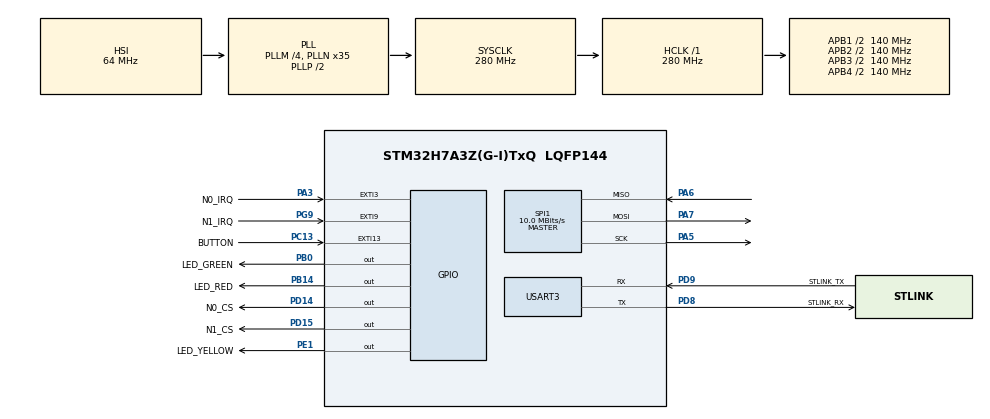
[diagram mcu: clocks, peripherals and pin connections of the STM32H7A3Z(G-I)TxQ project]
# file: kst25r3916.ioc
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CORTEX_M7.default_mode_Activation=1
Mcu.Family=STM32H7
Mcu.Name=STM32H7A3Z(G-I)TxQ
Mcu.Package=LQFP144
NVIC.EXTI15_10_IRQn=true\:0\:0\:false\:false\:true\:true\:true\:true
NVIC.EXTI3_IRQn=true\:0\:0\:false\:false\:true\:true\:true\:true
NVIC.EXTI9_5_IRQn=true\:0\:0\:false\:false\:true\:true\:true\:true
NVIC.PriorityGroup=NVIC_PRIORITYGROUP_4
PA3.GPIO_Label=N0_IRQ
PA3.Signal=GPXTI3
PA5.GPIO_Speed=GPIO_SPEED_FREQ_VERY_HIGH
PA5.Mode=Full_Duplex_Master
PA5.Signal=SPI1_SCK
PA6.GPIO_Speed=GPIO_SPEED_FREQ_VERY_HIGH
PA6.Mode=Full_Duplex_Master
PA6.Signal=SPI1_MISO
PA7.GPIO_Speed=GPIO_SPEED_FREQ_VERY_HIGH
PA7.Mode=Full_Duplex_Master
PA7.Signal=SPI1_MOSI
PB0.GPIO_Label=LED_GREEN
PB0.PinState=GPIO_PIN_RESET
PB0.Signal=GPIO_Output
PB14.GPIO_Label=LED_RED
PB14.GPIO_Speed=GPIO_SPEED_FREQ_LOW
PB14.Signal=GPIO_Output
PC13.GPIO_Label=BUTTON
PC13.Signal=GPXTI13
PC14-OSC32_IN.GPIO_Label=OSC32_IN
PC14-OSC32_IN.Signal=RCC_OSC32_IN
PC15-OSC32_OUT.GPIO_Label=OSC32_OUT
PC15-OSC32_OUT.Signal=RCC_OSC32_OUT
PD14.GPIO_Label=N0_CS
PD14.GPIO_Speed=GPIO_SPEED_FREQ_VERY_HIGH
PD14.PinState=GPIO_PIN_SET
PD14.Signal=GPIO_Output
PD15.GPIO_Label=N1_CS
PD15.GPIO_Speed=GPIO_SPEED_FREQ_VERY_HIGH
PD15.PinState=GPIO_PIN_SET
PD15.Signal=GPIO_Output
PD8.GPIO_Label=STLINK_RX
PD8.Mode=Asynchronous
PD8.Signal=USART3_TX
PD9.GPIO_Label=STLINK_TX
PD9.Mode=Asynchronous
PD9.Signal=USART3_RX
PE1.GPIO_Label=LED_YELLOW
PE1.Signal=GPIO_Output
PG9.GPIO_Label=N1_IRQ
PG9.Signal=GPXTI9
PH0-OSC_IN.GPIO_Label=PH0-MCU
PH0-OSC_IN.Signal=RCC_OSC_IN
PH1-OSC_OUT.GPIO_Label=PH1-MCU
PH1-OSC_OUT.Signal=RCC_OSC_OUT
ProjectManager.HeapSize=0x200
ProjectManager.StackSize=0x400
ProjectManager.TargetToolchain=STM32CubeIDE
RCC.ADCFreq_Value=129000000
RCC.APB1Freq_Value=140000000
RCC.APB2Freq_Value=140000000
RCC.APB3Freq_Value=140000000
RCC.APB4Freq_Value=140000000
RCC.CDPPRE=RCC_APB3_DIV2
RCC.CDPPRE1=RCC_APB1_DIV2
RCC.CDPPRE2=RCC_APB2_DIV2
RCC.CortexFreq_Value=280000000
RCC.DIVM1=4
RCC.DIVM3=1
RCC.DIVN1=35
RCC.DIVN3=24
RCC.DIVQ1=7
RCC.HCLKFreq_Value=280000000
RCC.HSE_VALUE=8000000
RCC.PLLFRACN=0
RCC.SRDPPRE=RCC_APB4_DIV2
RCC.SYSCLKFreq_VALUE=280000000
RCC.SYSCLKSource=RCC_SYSCLKSOURCE_PLLCLK
RCC.SupplySource=PWR_DIRECT_SMPS_SUPPLY
RCC.USBCLockSelection=RCC_USBCLKSOURCE_HSI48
RCC.USBFreq_Value=48000000
SPI1.BaudRatePrescaler=SPI_BAUDRATEPRESCALER_8
SPI1.CLKPhase=SPI_PHASE_2EDGE
SPI1.CalculateBaudRate=10.0 MBits/s
SPI1.DataSize=SPI_DATASIZE_8BIT
SPI1.Direction=SPI_DIRECTION_2LINES
SPI1.Mode=SPI_MODE_MASTER
SPI1.VirtualType=VM_MASTER
USART3.VirtualMode-Asynchronous=VM_ASYNC
VP_MEMORYMAP_VS_MEMORYMAP.Mode=CurAppReg
board=NUCLEO-H7A3ZI-Q

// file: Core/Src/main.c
/* USER CODE BEGIN Header */
/**
  ******************************************************************************
  * @file           : main.c
  * @brief          : Main program body
  ******************************************************************************
  * @attention
  *
  * Copyright (c) 2025 STMicroelectronics.
  * All rights reserved.
  *
  * This software is licensed under terms that can be found in the LICENSE file
  * in the root directory of this software component.
  * If no LICENSE file comes with this software, it is provided AS-IS.
  *
  ******************************************************************************
  */
/* USER CODE END Header */
#include "main.h"

/* USER CODE BEGIN Includes */
#include "../program/example_relay_st25r500.h"
//#include "../program/example_relay_st25r3916b.h"
//#include "../program/example_relay_st25r3916.h"
/* USER CODE END Includes */

SPI_HandleTypeDef hspi1;

UART_HandleTypeDef huart3;

/* USER CODE BEGIN PV */
uint8_t SPI_Mutex = 0;

ST25R nfc0 = {
	.pSPI = &hspi1,
	.GPIOx_CS = N0_CS_GPIO_Port,
	.GPIO_Pin_CS = N0_CS_Pin,
	.pSPI_Mutex = &SPI_Mutex,
	.irqStatus = 0,
	.irqMask = 0,
	.irqFlag = 0,
};

ST25R nfc1 = {
	.pSPI = &hspi1,
	.GPIOx_CS = N1_CS_GPIO_Port,
	.GPIO_Pin_CS = N1_CS_Pin,
	.pSPI_Mutex = &SPI_Mutex,
	.irqStatus = 0,
	.irqMask = 0,
	.irqFlag = 0,
};
/* USER CODE END PV */

void SystemClock_Config(void);
static void MPU_Config(void);
static void MX_GPIO_Init(void);
static void MX_SPI1_Init(void);
static void MX_USART3_UART_Init(void);

/* USER CODE BEGIN 0 */
const char KIWI_BANNER[] = 	"\x1b[2J\x1b[3J\x1b[H\r\n"
	"  .#####.         kst25r3916 on NUCLEO-H7A3ZI-Q (STM32)\r\n"
	" .## ^ ##.__ _\r\n"
	" ## / \\ /   ('>-  /***\r\n"
	" ## \\ / | K  |     Benjamin DELPY `gentilkiwi` ( benjamin@gentilkiwi.com )\r\n"
	" '## v #\\____/\r\n"
	"  '#####' L\\_      ***/\r\n";
/* USER CODE END 0 */

int main(void)
{

  /* MPU Configuration--------------------------------------------------------*/
  MPU_Config();

  /* MCU Configuration--------------------------------------------------------*/

  /* Reset of all peripherals, Initializes the Flash interface and the Systick. */
  HAL_Init();

  /* Configure the system clock */
  SystemClock_Config();

  /* Initialize all configured peripherals */
  MX_GPIO_Init();
  MX_SPI1_Init();
  MX_USART3_UART_Init();
  /* USER CODE BEGIN 2 */
	puts(KIWI_BANNER);
	//printf("Device ID   : 0x%04x rev: 0x%04x\r\n", (uint16_t )HAL_GetDEVID(), (uint16_t ) HAL_GetREVID());
	printf("Flash size  : %hu Kbytes\r\n", *(const uint16_t*)FLASHSIZE_BASE);
	printf("Device UID  : 0x%08lx%08lx%08lx\r\n", HAL_GetUIDw0(), HAL_GetUIDw1(), HAL_GetUIDw2());
	printf("SysClockFreq: %lu MHz\r\n\r\n", HAL_RCC_GetSysClockFreq() / 1000 / 1000);

	Example_Relay_ST25R500(&nfc0, &nfc1);
	//Example_Relay_ST25R3916B(&nfc0, &nfc1);
	//Example_Relay_ST25R3916(&nfc0, &nfc1);
  /* USER CODE END 2 */

  /* Infinite loop */
  while (1)
  {

  }
}

void SystemClock_Config(void)
{
  RCC_OscInitTypeDef RCC_OscInitStruct = {0};
  RCC_ClkInitTypeDef RCC_ClkInitStruct = {0};

  /*AXI clock gating */
  RCC->CKGAENR = 0xE003FFFF;

  /** Supply configuration update enable
  */
  HAL_PWREx_ConfigSupply(PWR_DIRECT_SMPS_SUPPLY);

  /** Configure the main internal regulator output voltage
  */
  __HAL_PWR_VOLTAGESCALING_CONFIG(PWR_REGULATOR_VOLTAGE_SCALE0);

  while(!__HAL_PWR_GET_FLAG(PWR_FLAG_VOSRDY)) {}

  /** Initializes the RCC Oscillators according to the specified parameters
  * in the RCC_OscInitTypeDef structure.
  */
  RCC_OscInitStruct.OscillatorType = RCC_OSCILLATORTYPE_HSI;
  RCC_OscInitStruct.HSIState = RCC_HSI_DIV1;
  RCC_OscInitStruct.HSICalibrationValue = 64;
  RCC_OscInitStruct.PLL.PLLState = RCC_PLL_ON;
  RCC_OscInitStruct.PLL.PLLSource = RCC_PLLSOURCE_HSI;
  RCC_OscInitStruct.PLL.PLLM = 4;
  RCC_OscInitStruct.PLL.PLLN = 35;
  RCC_OscInitStruct.PLL.PLLP = 2;
  RCC_OscInitStruct.PLL.PLLQ = 7;
  RCC_OscInitStruct.PLL.PLLR = 2;
  RCC_OscInitStruct.PLL.PLLRGE = RCC_PLL1VCIRANGE_3;
  RCC_OscInitStruct.PLL.PLLVCOSEL = RCC_PLL1VCOWIDE;
  RCC_OscInitStruct.PLL.PLLFRACN = 0;
  if (HAL_RCC_OscConfig(&RCC_OscInitStruct) != HAL_OK)
  {
    Error_Handler();
  }

  /** Initializes the CPU, AHB and APB buses clocks
  */
  RCC_ClkInitStruct.ClockType = RCC_CLOCKTYPE_HCLK|RCC_CLOCKTYPE_SYSCLK
                              |RCC_CLOCKTYPE_PCLK1|RCC_CLOCKTYPE_PCLK2
                              |RCC_CLOCKTYPE_D3PCLK1|RCC_CLOCKTYPE_D1PCLK1;
  RCC_ClkInitStruct.SYSCLKSource = RCC_SYSCLKSOURCE_PLLCLK;
  RCC_ClkInitStruct.SYSCLKDivider = RCC_SYSCLK_DIV1;
  RCC_ClkInitStruct.AHBCLKDivider = RCC_HCLK_DIV1;
  RCC_ClkInitStruct.APB3CLKDivider = RCC_APB3_DIV2;
  RCC_ClkInitStruct.APB1CLKDivider = RCC_APB1_DIV2;
  RCC_ClkInitStruct.APB2CLKDivider = RCC_APB2_DIV2;
  RCC_ClkInitStruct.APB4CLKDivider = RCC_APB4_DIV2;

  if (HAL_RCC_ClockConfig(&RCC_ClkInitStruct, FLASH_LATENCY_6) != HAL_OK)
  {
    Error_Handler();
  }
}

static void MX_SPI1_Init(void)
{

  /* SPI1 parameter configuration*/
  hspi1.Instance = SPI1;
  hspi1.Init.Mode = SPI_MODE_MASTER;
  hspi1.Init.Direction = SPI_DIRECTION_2LINES;
  hspi1.Init.DataSize = SPI_DATASIZE_8BIT;
  hspi1.Init.CLKPolarity = SPI_POLARITY_LOW;
  hspi1.Init.CLKPhase = SPI_PHASE_2EDGE;
  hspi1.Init.NSS = SPI_NSS_SOFT;
  hspi1.Init.BaudRatePrescaler = SPI_BAUDRATEPRESCALER_8;
  hspi1.Init.FirstBit = SPI_FIRSTBIT_MSB;
  hspi1.Init.TIMode = SPI_TIMODE_DISABLE;
  hspi1.Init.CRCCalculation = SPI_CRCCALCULATION_DISABLE;
  hspi1.Init.CRCPolynomial = 0x0;
  hspi1.Init.NSSPMode = SPI_NSS_PULSE_ENABLE;
  hspi1.Init.NSSPolarity = SPI_NSS_POLARITY_LOW;
  hspi1.Init.FifoThreshold = SPI_FIFO_THRESHOLD_01DATA;
  hspi1.Init.TxCRCInitializationPattern = SPI_CRC_INITIALIZATION_ALL_ZERO_PATTERN;
  hspi1.Init.RxCRCInitializationPattern = SPI_CRC_INITIALIZATION_ALL_ZERO_PATTERN;
  hspi1.Init.MasterSSIdleness = SPI_MASTER_SS_IDLENESS_00CYCLE;
  hspi1.Init.MasterInterDataIdleness = SPI_MASTER_INTERDATA_IDLENESS_00CYCLE;
  hspi1.Init.MasterReceiverAutoSusp = SPI_MASTER_RX_AUTOSUSP_DISABLE;
  hspi1.Init.MasterKeepIOState = SPI_MASTER_KEEP_IO_STATE_DISABLE;
  hspi1.Init.IOSwap = SPI_IO_SWAP_DISABLE;
  if (HAL_SPI_Init(&hspi1) != HAL_OK)
  {
    Error_Handler();
  }

}

static void MX_USART3_UART_Init(void)
{

  huart3.Instance = USART3;
  huart3.Init.BaudRate = 115200;
  huart3.Init.WordLength = UART_WORDLENGTH_8B;
  huart3.Init.StopBits = UART_STOPBITS_1;
  huart3.Init.Parity = UART_PARITY_NONE;
  huart3.Init.Mode = UART_MODE_TX_RX;
  huart3.Init.HwFlowCtl = UART_HWCONTROL_NONE;
  huart3.Init.OverSampling = UART_OVERSAMPLING_16;
  huart3.Init.OneBitSampling = UART_ONE_BIT_SAMPLE_DISABLE;
  huart3.Init.ClockPrescaler = UART_PRESCALER_DIV1;
  huart3.AdvancedInit.AdvFeatureInit = UART_ADVFEATURE_NO_INIT;
  if (HAL_UART_Init(&huart3) != HAL_OK)
  {
    Error_Handler();
  }
  if (HAL_UARTEx_SetTxFifoThreshold(&huart3, UART_TXFIFO_THRESHOLD_1_8) != HAL_OK)
  {
    Error_Handler();
  }
  if (HAL_UARTEx_SetRxFifoThreshold(&huart3, UART_RXFIFO_THRESHOLD_1_8) != HAL_OK)
  {
    Error_Handler();
  }
  if (HAL_UARTEx_DisableFifoMode(&huart3) != HAL_OK)
  {
    Error_Handler();
  }

}

static void MX_GPIO_Init(void)
{
  GPIO_InitTypeDef GPIO_InitStruct = {0};

  /* GPIO Ports Clock Enable */
  __HAL_RCC_GPIOC_CLK_ENABLE();
  __HAL_RCC_GPIOH_CLK_ENABLE();
  __HAL_RCC_GPIOA_CLK_ENABLE();
  __HAL_RCC_GPIOB_CLK_ENABLE();
  __HAL_RCC_GPIOD_CLK_ENABLE();
  __HAL_RCC_GPIOG_CLK_ENABLE();
  __HAL_RCC_GPIOE_CLK_ENABLE();

  /*Configure GPIO pin Output Level */
  HAL_GPIO_WritePin(GPIOB, LED_GREEN_Pin|LED_RED_Pin, GPIO_PIN_RESET);

  /*Configure GPIO pin Output Level */
  HAL_GPIO_WritePin(GPIOD, N0_CS_Pin|N1_CS_Pin, GPIO_PIN_SET);

  /*Configure GPIO pin Output Level */
  HAL_GPIO_WritePin(LED_YELLOW_GPIO_Port, LED_YELLOW_Pin, GPIO_PIN_RESET);

  /*Configure GPIO pin : BUTTON_Pin */
  GPIO_InitStruct.Pin = BUTTON_Pin;
  GPIO_InitStruct.Mode = GPIO_MODE_IT_RISING;
  GPIO_InitStruct.Pull = GPIO_NOPULL;
  HAL_GPIO_Init(BUTTON_GPIO_Port, &GPIO_InitStruct);

  /*Configure GPIO pin : N0_IRQ_Pin */
  GPIO_InitStruct.Pin = N0_IRQ_Pin;
  GPIO_InitStruct.Mode = GPIO_MODE_IT_RISING;
  GPIO_InitStruct.Pull = GPIO_NOPULL;
  HAL_GPIO_Init(N0_IRQ_GPIO_Port, &GPIO_InitStruct);

  /*Configure GPIO pins : LED_GREEN_Pin LED_RED_Pin */
  GPIO_InitStruct.Pin = LED_GREEN_Pin|LED_RED_Pin;
  GPIO_InitStruct.Mode = GPIO_MODE_OUTPUT_PP;
  GPIO_InitStruct.Pull = GPIO_NOPULL;
  GPIO_InitStruct.Speed = GPIO_SPEED_FREQ_LOW;
  HAL_GPIO_Init(GPIOB, &GPIO_InitStruct);

  /*Configure GPIO pins : N0_CS_Pin N1_CS_Pin */
  GPIO_InitStruct.Pin = N0_CS_Pin|N1_CS_Pin;
  GPIO_InitStruct.Mode = GPIO_MODE_OUTPUT_PP;
  GPIO_InitStruct.Pull = GPIO_NOPULL;
  GPIO_InitStruct.Speed = GPIO_SPEED_FREQ_VERY_HIGH;
  HAL_GPIO_Init(GPIOD, &GPIO_InitStruct);

  /*Configure GPIO pin : N1_IRQ_Pin */
  GPIO_InitStruct.Pin = N1_IRQ_Pin;
  GPIO_InitStruct.Mode = GPIO_MODE_IT_RISING;
  GPIO_InitStruct.Pull = GPIO_NOPULL;
  HAL_GPIO_Init(N1_IRQ_GPIO_Port, &GPIO_InitStruct);

  /*Configure GPIO pin : LED_YELLOW_Pin */
  GPIO_InitStruct.Pin = LED_YELLOW_Pin;
  GPIO_InitStruct.Mode = GPIO_MODE_OUTPUT_PP;
  GPIO_InitStruct.Pull = GPIO_NOPULL;
  GPIO_InitStruct.Speed = GPIO_SPEED_FREQ_LOW;
  HAL_GPIO_Init(LED_YELLOW_GPIO_Port, &GPIO_InitStruct);

  /* EXTI interrupt init*/
  HAL_NVIC_SetPriority(N0_IRQ_EXTI_IRQn, 0, 0);
  HAL_NVIC_EnableIRQ(N0_IRQ_EXTI_IRQn);

  HAL_NVIC_SetPriority(N1_IRQ_EXTI_IRQn, 0, 0);
  HAL_NVIC_EnableIRQ(N1_IRQ_EXTI_IRQn);

  HAL_NVIC_SetPriority(BUTTON_EXTI_IRQn, 0, 0);
  HAL_NVIC_EnableIRQ(BUTTON_EXTI_IRQn);

}

/* USER CODE BEGIN 4 */
int __io_putchar(int ch)
{
	HAL_UART_Transmit(&huart3, (uint8_t *) &ch, 1, HAL_MAX_DELAY);
	return ch;
}

void HAL_GPIO_EXTI_Callback(uint16_t GPIO_Pin)
{
	switch(GPIO_Pin)
	{
	case N0_IRQ_Pin:
		nfc0.irqFlag = 1;
		break;
	case N1_IRQ_Pin:
		nfc1.irqFlag = 1;
		break;
	case BUTTON_Pin:
		TRACE_FLASH_Save();
		break;
	}
}
/* USER CODE END 4 */

 /* MPU Configuration */

void MPU_Config(void)
{
  MPU_Region_InitTypeDef MPU_InitStruct = {0};

  /* Disables the MPU */
  HAL_MPU_Disable();

  /** Initializes and configures the Region and the memory to be protected
  */
  MPU_InitStruct.Enable = MPU_REGION_ENABLE;
  MPU_InitStruct.Number = MPU_REGION_NUMBER0;
  MPU_InitStruct.BaseAddress = 0x0;
  MPU_InitStruct.Size = MPU_REGION_SIZE_4GB;
  MPU_InitStruct.SubRegionDisable = 0x87;
  MPU_InitStruct.TypeExtField = MPU_TEX_LEVEL0;
  MPU_InitStruct.AccessPermission = MPU_REGION_NO_ACCESS;
  MPU_InitStruct.DisableExec = MPU_INSTRUCTION_ACCESS_DISABLE;
  MPU_InitStruct.IsShareable = MPU_ACCESS_SHAREABLE;
  MPU_InitStruct.IsCacheable = MPU_ACCESS_NOT_CACHEABLE;
  MPU_InitStruct.IsBufferable = MPU_ACCESS_NOT_BUFFERABLE;

  HAL_MPU_ConfigRegion(&MPU_InitStruct);
  /* Enables the MPU */
  HAL_MPU_Enable(MPU_PRIVILEGED_DEFAULT);

}

void Error_Handler(void)
{
  __disable_irq();
  while (1)
  {
  }
}
